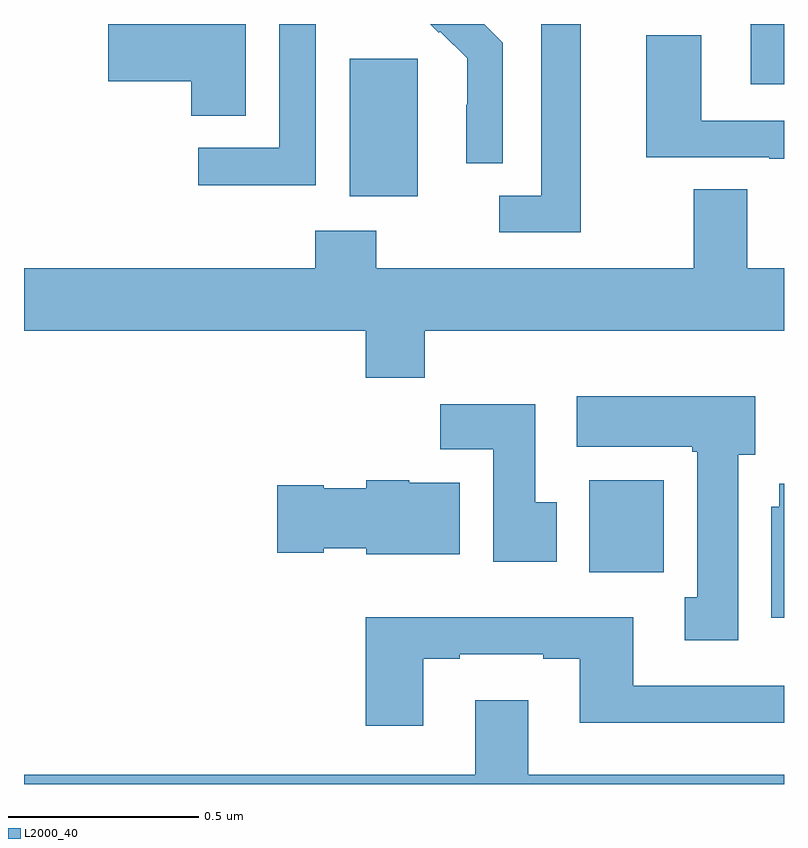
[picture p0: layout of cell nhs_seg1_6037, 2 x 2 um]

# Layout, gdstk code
import gdstk
lib = gdstk.Library(unit=1e-6, precision=1e-09)
def R(c, l, rs):  # rectangles x0, y0, x1, y1
    for r in rs: c.add(gdstk.rectangle(r[:2], r[2:], *l))
def P(c, l, *ps):  # polygons
    for p in ps: c.add(gdstk.Polygon(p, *l))
L2000_40 = (2000, 40)

nhs_seg1_6037 = lib.new_cell('nhs_seg1_6037')
R(nhs_seg1_6037, L2000_40, [(187.487,557.756,187.684,557.998), (186.857,558.746,187.036,559.107)])
P(nhs_seg1_6037, L2000_40, [(187.465,559.199),(187.361,559.199),(187.361,558.747),(187.251,558.747),(187.251,558.651),(187.465,558.651)],
  [(188,559.199),(187.911,559.199),(187.913,559.197),(187.913,559.041),(188,559.041)],
  [(187.26,559.15),(187.211,559.199),(187.069,559.199),(187.092,559.176),(187.095,559.179),(187.166,559.109),(187.166,558.986),(187.164,558.986),(187.164,558.832),(187.26,558.832)],
  [(186.583,559.199),(186.222,559.199),(186.222,559.049),(186.44,559.049),(186.44,558.958),(186.583,558.958)],
  [(186.768,559.199),(186.672,559.199),(186.672,558.873),(186.459,558.873),(186.459,558.775),(186.768,558.775)],
  [(188,558.945),(187.782,558.945),(187.782,559.169),(187.637,559.169),(187.637,558.849),(187.961,558.849),(187.961,558.845),(188,558.845)],
  [(187.055,558.392),(188,558.392),(188,558.556),(187.903,558.556),(187.903,558.764),(187.763,558.764),(187.763,558.556),(186.927,558.556),(186.927,558.655),(186.767,558.655),(186.767,558.556),(186,558.556),(186,558.392),(186.899,558.392),(186.899,558.268),(187.055,558.268)],
  [(187.879,558.066),(187.924,558.066),(187.924,558.22),(187.455,558.22),(187.455,558.086),(187.759,558.086),(187.759,558.073),(187.772,558.073),(187.772,557.69),(187.739,557.69),(187.739,557.577),(187.879,557.577)],
  [(187.402,557.94),(187.345,557.94),(187.345,558.199),(187.096,558.199),(187.096,558.08),(187.235,558.08),(187.235,557.784),(187.402,557.784)],
  [(187.147,557.992),(187.014,557.992),(187.014,557.998),(186.9,557.998),(186.9,557.977),(186.789,557.977),(186.789,557.985),(186.666,557.985),(186.666,557.807),(186.789,557.807),(186.789,557.819),(186.9,557.819),(186.9,557.804),(187.147,557.804)],
  [(188,557.989),(187.988,557.989),(187.988,557.928),(187.967,557.928),(187.967,557.636),(188,557.636)],
  [(187.051,557.529),(187.147,557.529),(187.147,557.541),(187.367,557.541),(187.367,557.529),(187.463,557.529),(187.463,557.36),(188,557.36),(188,557.457),(187.603,557.457),(187.603,557.638),(186.899,557.638),(186.899,557.352),(187.051,557.352)],
  [(188,557.224),(187.327,557.224),(187.327,557.419),(187.187,557.419),(187.187,557.224),(186,557.224),(186,557.199),(188,557.199)])

lib.write_gds('nhs_seg1_6037.gds')
